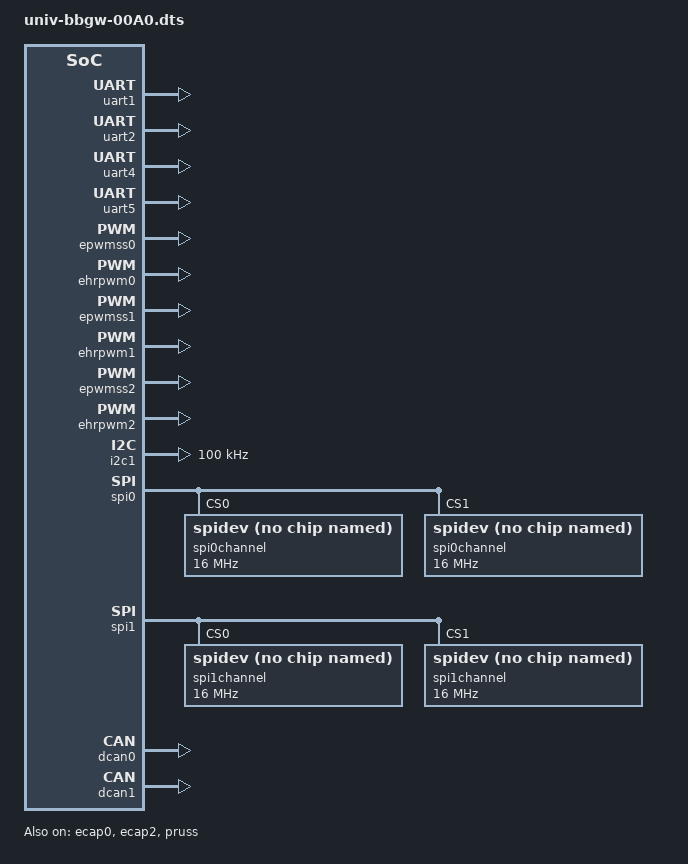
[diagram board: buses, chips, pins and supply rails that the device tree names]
/*
 * Copyright 2013
 * Charles Steinkuehler <charles@steinkuehler.net>
 * Robert Nelson <robertcnelson@gmail.com>
 * 
 * This program is free software; you can redistribute it and/or modify
 * it under the terms of the GNU General Public License as published by
 * the Free Software Foundation; either version 2 of the License, or
 * (at your option) any later version.
 * 
 * This program is distributed in the hope that it will be useful,
 * but WITHOUT ANY WARRANTY; without even the implied warranty of
 * MERCHANTABILITY or FITNESS FOR A PARTICULAR PURPOSE.  See the
 * GNU General Public License for more details.
 * 
 */

/dts-v1/;
/plugin/;

#include "bb-cape-universal.dtsi"

/ {
	compatible = "ti,beaglebone", "ti,beaglebone-black", "ti,beaglebone-green";

	/* identification */
	part-number = "univ-bbgw";
	version = "00A0";

	/* state the resources this cape uses */
	exclusive-use =

		/* "P8.1", GND */
		/* "P8.2", GND */
		/* "P8.3", emmc */
		/* "P8.4", emmc */
		/* "P8.5", emmc */
		/* "P8.6", emmc */
		"P8.7",
		"P8.8",
		"P8.9",
		"P8.10",
		/* "P8.11", */
		/* "P8.12", */
		"P8.13",
		/* "P8.14", */
		/* "P8.15", */
		/* "P8.16", */
		/* "P8.17", */
		/* "P8.18", */
		"P8.19",
		/* "P8.20", emmc */
		/* "P8.21", emmc */
		/* "P8.22", emmc */
		/* "P8.23", emmc */
		/* "P8.24", emmc */
		/* "P8.25", emmc */
		/* "P8.26", */
		"P8.27", /* hdmi */
		"P8.28", /* hdmi */
		"P8.29", /* hdmi */
		"P8.30", /* hdmi */
		"P8.31", /* hdmi */
		"P8.32", /* hdmi */
		"P8.33", /* hdmi */
		"P8.34", /* hdmi */
		"P8.35", /* hdmi */
		"P8.36", /* hdmi */
		"P8.37", /* hdmi */
		"P8.38", /* hdmi */
		"P8.39", /* hdmi */
		"P8.40", /* hdmi */
		"P8.41", /* hdmi */
		"P8.42", /* hdmi */
		"P8.43", /* hdmi */
		"P8.44", /* hdmi */
		"P8.45", /* hdmi */
		"P8.46", /* hdmi */

		/* "P9.1", GND */
		/* "P9.2", GND */
		/* "P9.3", 3.3V */
		/* "P9.4", 3.3V */
		/* "P9.5", VDD_5V */
		/* "P9.6", VDD_5V */
		/* "P9.7", SYS_5V */
		/* "P9.8", SYS_5V */
		/* "P9.9", PWR_BUT */
		/* "P9.10", RESETn */
		"P9.11",
		"P9.12",
		"P9.13",
		"P9.14",
		"P9.15",
		"P9.16",
		"P9.17",
		"P9.18",
		/* "P9.19", I2C */
		/* "P9.20", I2C */
		"P9.21",
		"P9.22",
		"P9.23",
		"P9.24",
		"P9.25", /* Audio */
		"P9.26",
		"P9.27",
		/* "P9.28", Audio */
		/* "P9.29", Audio */
		/* "P9.30", */
		/* "P9.31", Audio */
		/* "P9.32", VADC */
		/* "P9.33", AIN4 */
		/* "P9.34", AGND */
		/* "P9.35", AIN6 */
		/* "P9.36", AIN5 */
		/* "P9.37", AIN2 */
		/* "P9.38", AIN3 */
		/* "P9.39", AIN0 */
		/* "P9.40", AIN1 */
		"P9.41",
		"P9.41.1",
		"P9.42",
		"P9.42.1",
		/* "P9.43", GND */
		/* "P9.44", GND */
		/* "P9.45", GND */
		/* "P9.46", GND */

		"uart1",
		"uart2",
		"uart4",
		"uart5", /* Conflicts with HDMI */

		"ehrpwm0A",
		"ehrpwm0B",
		"ehrpwm1A",
		"ehrpwm1B",
		"ehrpwm2A",
		"ehrpwm2B",

		"epwmss0",
		"ehrpwm0",
		"ecap0",
		"epwmss1",
		"ehrpwm1",
		"epwmss2",
		"ehrpwm2",
		"ecap2",

		"i2c1",
		"spi1",
		"spi0",
		"dcan0",
		"dcan1",

		"pru0",
		"pru1",
		"pruss";

	/************************/
	/* Pin Multiplexing */
	/************************/

	fragment@1 {
		target = <&ocp>;
		__overlay__ {

			/************************/
			/* P8 Header			*/
			/************************/

			P8_07_pinmux {
				compatible = "bone-pinmux-helper";
				status = "okay";
				pinctrl-names = "default", "gpio", "gpio_pu", "gpio_pd", "timer";
				pinctrl-0 = <&P8_07_default_pin>;
				pinctrl-1 = <&P8_07_gpio_pin>;
				pinctrl-2 = <&P8_07_gpio_pu_pin>;
				pinctrl-3 = <&P8_07_gpio_pd_pin>;
				pinctrl-4 = <&P8_07_timer_pin>;
			};

			P8_08_pinmux {
				compatible = "bone-pinmux-helper";
				status = "okay";
				pinctrl-names = "default", "gpio", "gpio_pu", "gpio_pd", "timer";
				pinctrl-0 = <&P8_08_default_pin>;
				pinctrl-1 = <&P8_08_gpio_pin>;
				pinctrl-2 = <&P8_08_gpio_pu_pin>;
				pinctrl-3 = <&P8_08_gpio_pd_pin>;
				pinctrl-4 = <&P8_08_timer_pin>;
			};

			P8_09_pinmux {
				compatible = "bone-pinmux-helper";
				status = "okay";
				pinctrl-names = "default", "gpio", "gpio_pu", "gpio_pd", "timer";
				pinctrl-0 = <&P8_09_default_pin>;
				pinctrl-1 = <&P8_09_gpio_pin>;
				pinctrl-2 = <&P8_09_gpio_pu_pin>;
				pinctrl-3 = <&P8_09_gpio_pd_pin>;
				pinctrl-4 = <&P8_09_timer_pin>;
			};

			P8_10_pinmux {
				compatible = "bone-pinmux-helper";
				status = "okay";
				pinctrl-names = "default", "gpio", "gpio_pu", "gpio_pd", "timer";
				pinctrl-0 = <&P8_10_default_pin>;
				pinctrl-1 = <&P8_10_gpio_pin>;
				pinctrl-2 = <&P8_10_gpio_pu_pin>;
				pinctrl-3 = <&P8_10_gpio_pd_pin>;
				pinctrl-4 = <&P8_10_timer_pin>;
			};

			P8_13_pinmux {
				compatible = "bone-pinmux-helper";
				status = "okay";
				pinctrl-names = "default", "gpio", "gpio_pu", "gpio_pd", "pwm";
				pinctrl-0 = <&P8_13_default_pin>;
				pinctrl-1 = <&P8_13_gpio_pin>;
				pinctrl-2 = <&P8_13_gpio_pu_pin>;
				pinctrl-3 = <&P8_13_gpio_pd_pin>;
				pinctrl-4 = <&P8_13_pwm_pin>;
			};

			P8_19_pinmux {
				compatible = "bone-pinmux-helper";
				status = "okay";
				pinctrl-names = "default", "gpio", "gpio_pu", "gpio_pd", "pwm";
				pinctrl-0 = <&P8_19_default_pin>;
				pinctrl-1 = <&P8_19_gpio_pin>;
				pinctrl-2 = <&P8_19_gpio_pu_pin>;
				pinctrl-3 = <&P8_19_gpio_pd_pin>;
				pinctrl-4 = <&P8_19_pwm_pin>;
			};

			/* hdmi */
			P8_27_pinmux {
				compatible = "bone-pinmux-helper";
				status = "okay";
				pinctrl-names = "default", "gpio", "gpio_pu", "gpio_pd", "pruout", "pruin";
				pinctrl-0 = <&P8_27_default_pin>;
				pinctrl-1 = <&P8_27_gpio_pin>;
				pinctrl-2 = <&P8_27_gpio_pu_pin>;
				pinctrl-3 = <&P8_27_gpio_pd_pin>;
				pinctrl-4 = <&P8_27_pruout_pin>;
				pinctrl-5 = <&P8_27_pruin_pin>;
			};
			/* hdmi */
			P8_28_pinmux {
				compatible = "bone-pinmux-helper";
				status = "okay";
				pinctrl-names = "default", "gpio", "gpio_pu", "gpio_pd", "pruout", "pruin";
				pinctrl-0 = <&P8_28_default_pin>;
				pinctrl-1 = <&P8_28_gpio_pin>;
				pinctrl-2 = <&P8_28_gpio_pu_pin>;
				pinctrl-3 = <&P8_28_gpio_pd_pin>;
				pinctrl-4 = <&P8_28_pruout_pin>;
				pinctrl-5 = <&P8_28_pruin_pin>;
			};
			/* hdmi */
			P8_29_pinmux {
				compatible = "bone-pinmux-helper";
				status = "okay";
				pinctrl-names = "default", "gpio", "gpio_pu", "gpio_pd", "pruout", "pruin";
				pinctrl-0 = <&P8_29_default_pin>;
				pinctrl-1 = <&P8_29_gpio_pin>;
				pinctrl-2 = <&P8_29_gpio_pu_pin>;
				pinctrl-3 = <&P8_29_gpio_pd_pin>;
				pinctrl-4 = <&P8_29_pruout_pin>;
				pinctrl-5 = <&P8_29_pruin_pin>;
			};
			/* hdmi */
			P8_30_pinmux {
				compatible = "bone-pinmux-helper";
				status = "okay";
				pinctrl-names = "default", "gpio", "gpio_pu", "gpio_pd", "pruout", "pruin";
				pinctrl-0 = <&P8_30_default_pin>;
				pinctrl-1 = <&P8_30_gpio_pin>;
				pinctrl-2 = <&P8_30_gpio_pu_pin>;
				pinctrl-3 = <&P8_30_gpio_pd_pin>;
				pinctrl-4 = <&P8_30_pruout_pin>;
				pinctrl-5 = <&P8_30_pruin_pin>;
			};
			/* hdmi */
			P8_31_pinmux {
				compatible = "bone-pinmux-helper";
				status = "okay";
				pinctrl-names = "default", "gpio", "gpio_pu", "gpio_pd","uart";
				pinctrl-0 = <&P8_31_default_pin>;
				pinctrl-1 = <&P8_31_gpio_pin>;
				pinctrl-2 = <&P8_31_gpio_pu_pin>;
				pinctrl-3 = <&P8_31_gpio_pd_pin>;
				pinctrl-4 = <&P8_31_uart_pin>;
			};
			/* hdmi */
			P8_32_pinmux {
				compatible = "bone-pinmux-helper";
				status = "okay";
				pinctrl-names = "default", "gpio", "gpio_pu", "gpio_pd";
				pinctrl-0 = <&P8_32_default_pin>;
				pinctrl-1 = <&P8_32_gpio_pin>;
				pinctrl-2 = <&P8_32_gpio_pu_pin>;
				pinctrl-3 = <&P8_32_gpio_pd_pin>;
			};
			/* hdmi */
			P8_33_pinmux {
				compatible = "bone-pinmux-helper";
				status = "okay";
				pinctrl-names = "default", "gpio", "gpio_pu", "gpio_pd";
				pinctrl-0 = <&P8_33_default_pin>;
				pinctrl-1 = <&P8_33_gpio_pin>;
				pinctrl-2 = <&P8_33_gpio_pu_pin>;
				pinctrl-3 = <&P8_33_gpio_pd_pin>;
			};
			/* hdmi */
			P8_34_pinmux {
				compatible = "bone-pinmux-helper";
				status = "okay";
				pinctrl-names = "default", "gpio", "gpio_pu", "gpio_pd","pwm";
				pinctrl-0 = <&P8_34_default_pin>;
				pinctrl-1 = <&P8_34_gpio_pin>;
				pinctrl-2 = <&P8_34_gpio_pu_pin>;
				pinctrl-3 = <&P8_34_gpio_pd_pin>;
				pinctrl-4 = <&P8_34_pwm_pin>;
			};
			/* hdmi */
			P8_35_pinmux {
				compatible = "bone-pinmux-helper";
				status = "okay";
				pinctrl-names = "default", "gpio", "gpio_pu", "gpio_pd";
				pinctrl-0 = <&P8_35_default_pin>;
				pinctrl-1 = <&P8_35_gpio_pin>;
				pinctrl-2 = <&P8_35_gpio_pu_pin>;
				pinctrl-3 = <&P8_35_gpio_pd_pin>;
			};
			/* hdmi */
			P8_36_pinmux {
				compatible = "bone-pinmux-helper";
				status = "okay";
				pinctrl-names = "default", "gpio", "gpio_pu", "gpio_pd","pwm";
				pinctrl-0 = <&P8_36_default_pin>;
				pinctrl-1 = <&P8_36_gpio_pin>;
				pinctrl-2 = <&P8_36_gpio_pu_pin>;
				pinctrl-3 = <&P8_36_gpio_pd_pin>;
				pinctrl-4 = <&P8_36_pwm_pin>;
			};
			/* hdmi */
			P8_37_pinmux {
				compatible = "bone-pinmux-helper";
				status = "okay";
				pinctrl-names = "default", "gpio", "gpio_pu", "gpio_pd","uart","pwm";
				pinctrl-0 = <&P8_37_default_pin>;
				pinctrl-1 = <&P8_37_gpio_pin>;
				pinctrl-2 = <&P8_37_gpio_pu_pin>;
				pinctrl-3 = <&P8_37_gpio_pd_pin>;
				pinctrl-4 = <&P8_37_uart_pin>;
				pinctrl-5 = <&P8_37_pwm_pin>;
			};
			/* hdmi */
			P8_38_pinmux {
				compatible = "bone-pinmux-helper";
				status = "okay";
				pinctrl-names = "default", "gpio", "gpio_pu", "gpio_pd","uart","pwm";
				pinctrl-0 = <&P8_38_default_pin>;
				pinctrl-1 = <&P8_38_gpio_pin>;
				pinctrl-2 = <&P8_38_gpio_pu_pin>;
				pinctrl-3 = <&P8_38_gpio_pd_pin>;
				pinctrl-4 = <&P8_38_uart_pin>;
				pinctrl-5 = <&P8_38_pwm_pin>;
			};
			/* hdmi */
			P8_39_pinmux {
				compatible = "bone-pinmux-helper";
				status = "okay";
				pinctrl-names = "default", "gpio", "gpio_pu", "gpio_pd", "pruout", "pruin";
				pinctrl-0 = <&P8_39_default_pin>;
				pinctrl-1 = <&P8_39_gpio_pin>;
				pinctrl-2 = <&P8_39_gpio_pu_pin>;
				pinctrl-3 = <&P8_39_gpio_pd_pin>;
				pinctrl-4 = <&P8_39_pruout_pin>;
				pinctrl-5 = <&P8_39_pruin_pin>;
			};
			/* hdmi */
			P8_40_pinmux {
				compatible = "bone-pinmux-helper";
				status = "okay";
				pinctrl-names = "default", "gpio", "gpio_pu", "gpio_pd", "pruout", "pruin";
				pinctrl-0 = <&P8_40_default_pin>;
				pinctrl-1 = <&P8_40_gpio_pin>;
				pinctrl-2 = <&P8_40_gpio_pu_pin>;
				pinctrl-3 = <&P8_40_gpio_pd_pin>;
				pinctrl-4 = <&P8_40_pruout_pin>;
				pinctrl-5 = <&P8_40_pruin_pin>;
			};
			/* hdmi */
			P8_41_pinmux {
				compatible = "bone-pinmux-helper";
				status = "okay";
				pinctrl-names = "default", "gpio", "gpio_pu", "gpio_pd", "pruout", "pruin";
				pinctrl-0 = <&P8_41_default_pin>;
				pinctrl-1 = <&P8_41_gpio_pin>;
				pinctrl-2 = <&P8_41_gpio_pu_pin>;
				pinctrl-3 = <&P8_41_gpio_pd_pin>;
				pinctrl-4 = <&P8_41_pruout_pin>;
				pinctrl-5 = <&P8_41_pruin_pin>;
			};
			/* hdmi */
			P8_42_pinmux {
				compatible = "bone-pinmux-helper";
				status = "okay";
				pinctrl-names = "default", "gpio", "gpio_pu", "gpio_pd", "pruout", "pruin";
				pinctrl-0 = <&P8_42_default_pin>;
				pinctrl-1 = <&P8_42_gpio_pin>;
				pinctrl-2 = <&P8_42_gpio_pu_pin>;
				pinctrl-3 = <&P8_42_gpio_pd_pin>;
				pinctrl-4 = <&P8_42_pruout_pin>;
				pinctrl-5 = <&P8_42_pruin_pin>;
			};
			/* hdmi */
			P8_43_pinmux {
				compatible = "bone-pinmux-helper";
				status = "okay";
				pinctrl-names = "default", "gpio", "gpio_pu", "gpio_pd", "pruout", "pruin","pwm";
				pinctrl-0 = <&P8_43_default_pin>;
				pinctrl-1 = <&P8_43_gpio_pin>;
				pinctrl-2 = <&P8_43_gpio_pu_pin>;
				pinctrl-3 = <&P8_43_gpio_pd_pin>;
				pinctrl-4 = <&P8_43_pruout_pin>;
				pinctrl-5 = <&P8_43_pruin_pin>;
				pinctrl-6 = <&P8_43_pwm_pin>;
			};
			/* hdmi */
			P8_44_pinmux {
				compatible = "bone-pinmux-helper";
				status = "okay";
				pinctrl-names = "default", "gpio", "gpio_pu", "gpio_pd", "pruout", "pruin","pwm";
				pinctrl-0 = <&P8_44_default_pin>;
				pinctrl-1 = <&P8_44_gpio_pin>;
				pinctrl-2 = <&P8_44_gpio_pu_pin>;
				pinctrl-3 = <&P8_44_gpio_pd_pin>;
				pinctrl-4 = <&P8_44_pruout_pin>;
				pinctrl-5 = <&P8_44_pruin_pin>;
				pinctrl-6 = <&P8_44_pwm_pin>;
			};
			/* hdmi */
			P8_45_pinmux {
				compatible = "bone-pinmux-helper";
				status = "okay";
				pinctrl-names = "default", "gpio", "gpio_pu", "gpio_pd", "pruout", "pruin","pwm";
				pinctrl-0 = <&P8_45_default_pin>;
				pinctrl-1 = <&P8_45_gpio_pin>;
				pinctrl-2 = <&P8_45_gpio_pu_pin>;
				pinctrl-3 = <&P8_45_gpio_pd_pin>;
				pinctrl-4 = <&P8_45_pruout_pin>;
				pinctrl-5 = <&P8_45_pruin_pin>;
				pinctrl-6 = <&P8_45_pwm_pin>;
			};
			/* hdmi */
			P8_46_pinmux {
				compatible = "bone-pinmux-helper";
				status = "okay";
				pinctrl-names = "default", "gpio", "gpio_pu", "gpio_pd", "pruout", "pruin","pwm";
				pinctrl-0 = <&P8_46_default_pin>;
				pinctrl-1 = <&P8_46_gpio_pin>;
				pinctrl-2 = <&P8_46_gpio_pu_pin>;
				pinctrl-3 = <&P8_46_gpio_pd_pin>;
				pinctrl-4 = <&P8_46_pruout_pin>;
				pinctrl-5 = <&P8_46_pruin_pin>;
				pinctrl-6 = <&P8_46_pwm_pin>;
			};


			/************************/
			/* P9 Header			*/
			/************************/

			P9_11_pinmux {
				compatible = "bone-pinmux-helper";
				status = "okay";
				pinctrl-names = "default", "gpio", "gpio_pu", "gpio_pd", "uart";
				pinctrl-0 = <&P9_11_default_pin>;
				pinctrl-1 = <&P9_11_gpio_pin>;
				pinctrl-2 = <&P9_11_gpio_pu_pin>;
				pinctrl-3 = <&P9_11_gpio_pd_pin>;
				pinctrl-4 = <&P9_11_uart_pin>;
			};

			P9_13_pinmux {
				compatible = "bone-pinmux-helper";
				status = "okay";
				pinctrl-names = "default", "gpio", "gpio_pu", "gpio_pd", "uart";
				pinctrl-0 = <&P9_13_default_pin>;
				pinctrl-1 = <&P9_13_gpio_pin>;
				pinctrl-2 = <&P9_13_gpio_pu_pin>;
				pinctrl-3 = <&P9_13_gpio_pd_pin>;
				pinctrl-4 = <&P9_13_uart_pin>;
			};

			P9_14_pinmux {
				compatible = "bone-pinmux-helper";
				status = "okay";
				pinctrl-names = "default", "gpio", "gpio_pu", "gpio_pd", "pwm";
				pinctrl-0 = <&P9_14_default_pin>;
				pinctrl-1 = <&P9_14_gpio_pin>;
				pinctrl-2 = <&P9_14_gpio_pu_pin>;
				pinctrl-3 = <&P9_14_gpio_pd_pin>;
				pinctrl-4 = <&P9_14_pwm_pin>;
			};

			P9_15_pinmux {
				compatible = "bone-pinmux-helper";
				status = "okay";
				pinctrl-names = "default", "gpio", "gpio_pu", "gpio_pd", "pwm";
				pinctrl-0 = <&P9_15_default_pin>;
				pinctrl-1 = <&P9_15_gpio_pin>;
				pinctrl-2 = <&P9_15_gpio_pu_pin>;
				pinctrl-3 = <&P9_15_gpio_pd_pin>;
				pinctrl-4 = <&P9_15_pwm_pin>;
			};

			P9_16_pinmux {
				compatible = "bone-pinmux-helper";
				status = "okay";
				pinctrl-names = "default", "gpio", "gpio_pu", "gpio_pd", "pwm";
				pinctrl-0 = <&P9_16_default_pin>;
				pinctrl-1 = <&P9_16_gpio_pin>;
				pinctrl-2 = <&P9_16_gpio_pu_pin>;
				pinctrl-3 = <&P9_16_gpio_pd_pin>;
				pinctrl-4 = <&P9_16_pwm_pin>;
			};

			P9_17_pinmux {
				compatible = "bone-pinmux-helper";
				status = "okay";
				pinctrl-names = "default", "gpio", "gpio_pu", "gpio_pd", "spi", "i2c", "pwm";
				pinctrl-0 = <&P9_17_default_pin>;
				pinctrl-1 = <&P9_17_gpio_pin>;
				pinctrl-2 = <&P9_17_gpio_pu_pin>;
				pinctrl-3 = <&P9_17_gpio_pd_pin>;
				pinctrl-4 = <&P9_17_spi_pin>;
				pinctrl-5 = <&P9_17_i2c_pin>;
				pinctrl-6 = <&P9_17_pwm_pin>;
			};

			P9_18_pinmux {
				compatible = "bone-pinmux-helper";
				status = "okay";
				pinctrl-names = "default", "gpio", "gpio_pu", "gpio_pd", "spi", "i2c", "pwm";
				pinctrl-0 = <&P9_18_default_pin>;
				pinctrl-1 = <&P9_18_gpio_pin>;
				pinctrl-2 = <&P9_18_gpio_pu_pin>;
				pinctrl-3 = <&P9_18_gpio_pd_pin>;
				pinctrl-4 = <&P9_18_spi_pin>;
				pinctrl-5 = <&P9_18_i2c_pin>;
				pinctrl-6 = <&P9_18_pwm_pin>;
			};

			// I2C Pins
			// P9_19_pinmux
			// P9_20_pinmux

			P9_21_pinmux {
				compatible = "bone-pinmux-helper";
				status = "okay";
				pinctrl-names = "default", "gpio", "gpio_pu", "gpio_pd", "spi", "uart", "i2c", "pwm";
				pinctrl-0 = <&P9_21_default_pin>;
				pinctrl-1 = <&P9_21_gpio_pin>;
				pinctrl-2 = <&P9_21_gpio_pu_pin>;
				pinctrl-3 = <&P9_21_gpio_pd_pin>;
				pinctrl-4 = <&P9_21_spi_pin>;
				pinctrl-5 = <&P9_21_uart_pin>;
				pinctrl-6 = <&P9_21_i2c_pin>;
				pinctrl-7 = <&P9_21_pwm_pin>;
			};

			P9_22_pinmux {
				compatible = "bone-pinmux-helper";
				status = "okay";
				pinctrl-names = "default", "gpio", "gpio_pu", "gpio_pd", "spi", "uart", "i2c", "pwm";
				pinctrl-0 = <&P9_22_default_pin>;
				pinctrl-1 = <&P9_22_gpio_pin>;
				pinctrl-2 = <&P9_22_gpio_pu_pin>;
				pinctrl-3 = <&P9_22_gpio_pd_pin>;
				pinctrl-4 = <&P9_22_spi_pin>;
				pinctrl-5 = <&P9_22_uart_pin>;
				pinctrl-6 = <&P9_22_i2c_pin>;
				pinctrl-7 = <&P9_22_pwm_pin>;
			};

			P9_23_pinmux {
				compatible = "bone-pinmux-helper";
				status = "okay";
				pinctrl-names = "default", "gpio", "gpio_pu", "gpio_pd", "pwm";
				pinctrl-0 = <&P9_23_default_pin>;
				pinctrl-1 = <&P9_23_gpio_pin>;
				pinctrl-2 = <&P9_23_gpio_pu_pin>;
				pinctrl-3 = <&P9_23_gpio_pd_pin>;
				pinctrl-4 = <&P9_23_pwm_pin>;
			};

			P9_24_pinmux {
				compatible = "bone-pinmux-helper";
				status = "okay";
				pinctrl-names = "default", "gpio", "gpio_pu", "gpio_pd", "uart", "can", "i2c", "pruin";
				pinctrl-0 = <&P9_24_default_pin>;
				pinctrl-1 = <&P9_24_gpio_pin>;
				pinctrl-2 = <&P9_24_gpio_pu_pin>;
				pinctrl-3 = <&P9_24_gpio_pd_pin>;
				pinctrl-4 = <&P9_24_uart_pin>;
				pinctrl-5 = <&P9_24_can_pin>;
				pinctrl-6 = <&P9_24_i2c_pin>;
				pinctrl-7 = <&P9_24_pruin_pin>;
			};
			/* audio */
			P9_25_pinmux {
				compatible = "bone-pinmux-helper";
				status = "okay";
				pinctrl-names = "default", "gpio", "gpio_pu", "gpio_pd", "qep", "pruout", "pruin";
				pinctrl-0 = <&P9_25_default_pin>;
				pinctrl-1 = <&P9_25_gpio_pin>;
				pinctrl-2 = <&P9_25_gpio_pu_pin>;
				pinctrl-3 = <&P9_25_gpio_pd_pin>;
				pinctrl-4 = <&P9_25_qep_pin>;
				pinctrl-5 = <&P9_25_pruout_pin>;
				pinctrl-6 = <&P9_25_pruin_pin>;
			};

			P9_26_pinmux {
				compatible = "bone-pinmux-helper";
				status = "okay";
				pinctrl-names = "default", "gpio", "gpio_pu", "gpio_pd", "uart", "can", "i2c", "pruin";
				pinctrl-0 = <&P9_26_default_pin>;
				pinctrl-1 = <&P9_26_gpio_pin>;
				pinctrl-2 = <&P9_26_gpio_pu_pin>;
				pinctrl-3 = <&P9_26_gpio_pd_pin>;
				pinctrl-4 = <&P9_26_uart_pin>;
				pinctrl-5 = <&P9_26_can_pin>;
				pinctrl-6 = <&P9_26_i2c_pin>;
				pinctrl-7 = <&P9_26_pruin_pin>;
			};

			P9_27_pinmux {
				compatible = "bone-pinmux-helper";
				status = "okay";
				pinctrl-names = "default", "gpio", "gpio_pu", "gpio_pd", "qep", "pruout", "pruin";
				pinctrl-0 = <&P9_27_default_pin>;
				pinctrl-1 = <&P9_27_gpio_pin>;
				pinctrl-2 = <&P9_27_gpio_pu_pin>;
				pinctrl-3 = <&P9_27_gpio_pd_pin>;
				pinctrl-4 = <&P9_27_qep_pin>;
				pinctrl-5 = <&P9_27_pruout_pin>;
				pinctrl-6 = <&P9_27_pruin_pin>;
			};

			P9_41_pinmux {
				compatible = "bone-pinmux-helper";
				status = "okay";
				pinctrl-names = "default", "gpio", "gpio_pu", "gpio_pd", "timer", "pruin";
				pinctrl-0 = <&P9_41_default_pin>;
				pinctrl-1 = <&P9_41_gpio_pin>;
				pinctrl-2 = <&P9_41_gpio_pu_pin>;
				pinctrl-3 = <&P9_41_gpio_pd_pin>;
				pinctrl-4 = <&P9_41_timer_pin>;
				pinctrl-5 = <&P9_41_pruin_pin>;
			};

			P9_91_pinmux {
				compatible = "bone-pinmux-helper";
				status = "okay";
				pinctrl-names = "default", "gpio", "gpio_pu", "gpio_pd", "qep", "pruout", "pruin";
				pinctrl-0 = <&P9_91_default_pin>;
				pinctrl-1 = <&P9_91_gpio_pin>;
				pinctrl-2 = <&P9_91_gpio_pu_pin>;
				pinctrl-3 = <&P9_91_gpio_pd_pin>;
				pinctrl-4 = <&P9_91_qep_pin>;
				pinctrl-5 = <&P9_91_pruout_pin>;
				pinctrl-6 = <&P9_91_pruin_pin>;
			};

			P9_42_pinmux {
				compatible = "bone-pinmux-helper";
				status = "okay";
				pinctrl-names = "default", "gpio", "gpio_pu", "gpio_pd", "pwm", "uart", "spics", "spiclk";
				pinctrl-0 = <&P9_42_default_pin>;
				pinctrl-1 = <&P9_42_gpio_pin>;
				pinctrl-2 = <&P9_42_gpio_pu_pin>;
				pinctrl-3 = <&P9_42_gpio_pd_pin>;
				pinctrl-4 = <&P9_42_pwm_pin>;
				pinctrl-5 = <&P9_42_uart_pin>;
				pinctrl-6 = <&P9_42_spics_pin>;
				pinctrl-7 = <&P9_42_spiclk_pin>;
			};

			P9_92_pinmux {
				compatible = "bone-pinmux-helper";
				status = "okay";
				pinctrl-names = "default", "gpio", "gpio_pu", "gpio_pd", "qep", "pruout", "pruin";
				pinctrl-0 = <&P9_92_default_pin>;
				pinctrl-1 = <&P9_92_gpio_pin>;
				pinctrl-2 = <&P9_92_gpio_pu_pin>;
				pinctrl-3 = <&P9_92_gpio_pd_pin>;
				pinctrl-4 = <&P9_92_qep_pin>;
				pinctrl-5 = <&P9_92_pruout_pin>;
				pinctrl-6 = <&P9_92_pruin_pin>;
			};
		};
	};

	fragment@2 {
		target = <&ocp>;
		__overlay__ {
			cape-universal {
				compatible = "gpio-of-helper";
				status = "okay";
				pinctrl-names = "default";
				pinctrl-0 = <>;

				P8_07 {
					gpio-name = "P8_07";
					gpio = <&gpio2 2 0>;
					input;
					dir-changeable;
				};

				P8_08 {
					gpio-name = "P8_08";
					gpio = <&gpio2 3 0>;
					input;
					dir-changeable;
				};

				P8_09 {
					gpio-name = "P8_09";
					gpio = <&gpio2 5 0>;
					input;
					dir-changeable;
				};

				P8_10 {
					gpio-name = "P8_10";
					gpio = <&gpio2 4 0>;
					input;
					dir-changeable;
				};

				P8_13 {
					gpio-name = "P8_13";
					gpio = <&gpio0 23 0>;
					input;
					dir-changeable;
				};

				P8_19 {
					gpio-name = "P8_19";
					gpio = <&gpio0 22 0>;
					input;
					dir-changeable;
				};

				/* hdmi */
				P8_27 {
					gpio-name = "P8_27";
					gpio = <&gpio2 22 0>;
					input;
					dir-changeable;
				};
				/* hdmi */
				P8_28 {
					gpio-name = "P8_28";
					gpio = <&gpio2 24 0>;
					input;
					dir-changeable;
				};
				/* hdmi */
				P8_29 {
					gpio-name = "P8_29";
					gpio = <&gpio2 23 0>;
					input;
					dir-changeable;
				};
				/* hdmi */
				P8_30 {
					gpio-name = "P8_30";
					gpio = <&gpio2 25 0>;
					input;
					dir-changeable;
				};
				/* hdmi */
				P8_31 {
					gpio-name = "P8_31";
					gpio = <&gpio0 10 0>;
					input;
					dir-changeable;
				};
				/* hdmi */
				P8_32 {
					gpio-name = "P8_32";
					gpio = <&gpio0 11 0>;
					input;
					dir-changeable;
				};
				/* hdmi */
				P8_33 {
					gpio-name = "P8_33";
					gpio = <&gpio0 9 0>;
					input;
					dir-changeable;
				};
				/* hdmi */
				P8_34 {
					gpio-name = "P8_34";
					gpio = <&gpio2 17 0>;
					input;
					dir-changeable;
				};
				/* hdmi */
				P8_35 {
					gpio-name = "P8_35";
					gpio = <&gpio0 8 0>;
					input;
					dir-changeable;
				};
				/* hdmi */
				P8_36 {
					gpio-name = "P8_36";
					gpio = <&gpio2 16 0>;
					input;
					dir-changeable;
				};
				/* hdmi */
				P8_37 {
					gpio-name = "P8_37";
					gpio = <&gpio2 14 0>;
					input;
					dir-changeable;
				};
				/* hdmi */
				P8_38 {
					gpio-name = "P8_38";
					gpio = <&gpio2 15 0>;
					input;
					dir-changeable;
				};
				/* hdmi */
				P8_39 {
					gpio-name = "P8_39";
					gpio = <&gpio2 12 0>;
					input;
					dir-changeable;
				};
				/* hdmi */
				P8_40 {
					gpio-name = "P8_40";
					gpio = <&gpio2 13 0>;
					input;
					dir-changeable;
				};
				/* hdmi */
				P8_41 {
					gpio-name = "P8_41";
					gpio = <&gpio2 10 0>;
					input;
					dir-changeable;
				};
				/* hdmi */
				P8_42 {
					gpio-name = "P8_42";
					gpio = <&gpio2 11 0>;
					input;
					dir-changeable;
				};
				/* hdmi */
				P8_43 {
					gpio-name = "P8_43";
					gpio = <&gpio2 8 0>;
					input;
					dir-changeable;
				};
				/* hdmi */
				P8_44 {
					gpio-name = "P8_44";
					gpio = <&gpio2 9 0>;
					input;
					dir-changeable;
				};
				/* hdmi */
				P8_45 {
					gpio-name = "P8_45";
					gpio = <&gpio2 6 0>;
					input;
					dir-changeable;
				};
				/* hdmi */
				P8_46 {
					gpio-name = "P8_46";
					gpio = <&gpio2 7 0>;
					input;
					dir-changeable;
				};

				P9_11 {
					gpio-name = "P9_11";
					gpio = <&gpio0 30 0>;
					input;
					dir-changeable;
				};

				P9_12 {
					gpio-name = "P9_12";
					gpio = <&gpio1 28 0>;
					input;
					dir-changeable;
				};

				P9_13 {
					gpio-name = "P9_13";
					gpio = <&gpio0 31 0>;
					input;
					dir-changeable;
				};

				P9_14 {
					gpio-name = "P9_14";
					gpio = <&gpio1 18 0>;
					input;
					dir-changeable;
				};

				P9_15 {
					gpio-name = "P9_15";
					gpio = <&gpio1 16 0>;
					input;
					dir-changeable;
				};

				P9_16 {
					gpio-name = "P9_16";
					gpio = <&gpio1 19 0>;
					input;
					dir-changeable;
				};

				P9_17 {
					gpio-name = "P9_17";
					gpio = <&gpio0 5 0>;
					input;
					dir-changeable;
				};

				P9_18 {
					gpio-name = "P9_18";
					gpio = <&gpio0 4 0>;
					input;
					dir-changeable;
				};

				// I2C pins
				// P9_19
				// P9_20

				P9_21 {
					gpio-name = "P9_21";
					gpio = <&gpio0 3 0>;
					input;
					dir-changeable;
				};

				P9_22 {
					gpio-name = "P9_22";
					gpio = <&gpio0 2 0>;
					input;
					dir-changeable;
				};

				P9_23 {
					gpio-name = "P9_23";
					gpio = <&gpio1 17 0>;
					input;
					dir-changeable;
				};

				P9_24 {
					gpio-name = "P9_24";
					gpio = <&gpio0 15 0>;
					input;
					dir-changeable;
				};
				/* audio */
				P9_25 {
					gpio-name = "P9_25";
					gpio = <&gpio3 21 0>;
					input;
					dir-changeable;
				};

				P9_26 {
					gpio-name = "P9_26";
					gpio = <&gpio0 14 0>;
					input;
					dir-changeable;
				};

				P9_27 {
					gpio-name = "P9_27";
					gpio = <&gpio3 19 0>;
					input;
					dir-changeable;
				};

				P9_41 {
					gpio-name = "P9_41";
					gpio = <&gpio0 20 0>;
					input;
					dir-changeable;
				};

				P9_91 {
					gpio-name = "P9_91";
					gpio = <&gpio3 20 0>;
					input;
					dir-changeable;
				};

				P9_42 {
					gpio-name = "P9_42";
					gpio = <&gpio0 7 0>;
					input;
					dir-changeable;
				};

				P9_92 {
					gpio-name = "P9_92";
					gpio = <&gpio3 18 0>;
					input;
					dir-changeable;
				};
			};
		};
	};


	/************************/
	/* UARTs */
	/************************/

	fragment@10 {
		target = <&uart1>;
		__overlay__ {
			status = "okay";
			pinctrl-names = "default";
			pinctrl-0 = <>;
		};
	};

	fragment@11 {
		target = <&uart2>;
		__overlay__ {
			status = "okay";
			pinctrl-names = "default";
			pinctrl-0 = <>;
		};
	};

	fragment@12 {
		target = <&uart4>;
		__overlay__ {
			status = "okay";
			pinctrl-names = "default";
			pinctrl-0 = <>;
		};
	};

	/* UART 5 only available on LCD/HDMI pins */
	fragment@13 {
		target = <&uart5>;
		__overlay__ {
			status = "okay";
			pinctrl-names = "default";
			pinctrl-0 = <>;
		};
	};

	/************************/
	/* Timers / PWM */
	/************************/

	fragment@20 {
		target = <&epwmss0>;
		__overlay__ {
			status = "okay";
		};
	};

	fragment@21 {
		target = <&ehrpwm0>;
		__overlay__ {
			status = "okay";
			pinctrl-names = "default";
			pinctrl-0 = <>;
		};
 };

 fragment@22 {
		target = <&ecap0>;
		__overlay__ {
			status = "okay";
			pinctrl-names = "default";
			pinctrl-0 = <>;
		};
	};

	fragment@23 {
		target = <&epwmss1>;
		__overlay__ {
			status = "okay";
		};
	};

	fragment@24 {
		target = <&ehrpwm1>;
		__overlay__ {
			status = "okay";
			pinctrl-names = "default";
			pinctrl-0 = <>;
		};
	};

	fragment@25 {
		target = <&epwmss2>;
		__overlay__ {
			status = "okay";
		};
	};

	fragment@26 {
		target = <&ehrpwm2>;
		__overlay__ {
			status = "okay";
			pinctrl-names = "default";
			pinctrl-0 = <>;
		};
	};

	fragment@27 {
		target = <&ecap2>;
		__overlay__ {
			status = "okay";
			pinctrl-names = "default";
			pinctrl-0 = <>;
		};
	};

	/************************/
	/* I2C / SPI */
	/************************/

	fragment@30 {
		target = <&i2c1>; /* i2c1 is numbered correctly */
		__overlay__ {
			status = "okay";
			pinctrl-names = "default";
			pinctrl-0 = <>; 

			/* this is the configuration part */
			clock-frequency = <100000>;

			#address-cells = <1>;
			#size-cells = <0>;

			/* add any i2c devices on the bus here */

			// commented out example of a touchscreen (taken from BB-BONE-LCD7-01-00A4) */
			// maxtouch@4a {
			// compatible = "mXT224";
			// reg = <0x4a>;
			// interrupt-parent = <&gpio3>;
			// interrupts = <19 0x0>;
			// atmel,irq-gpio = <&gpio3 19 0>;
			// };
		};
	};

	fragment@31 {
		target = <&spi0>;
		__overlay__ {
			#address-cells = <1>;
			#size-cells = <0>;

			status = "okay";
			pinctrl-names = "default";
			pinctrl-0 = <>; 

			spi0channel@0 {
				#address-cells = <1>;
				#size-cells = <0>;

				compatible = "spidev";

				reg = <0>;
				spi-max-frequency = <16000000>;
				spi-cpha;
			};


			spi0channel@1 {
				#address-cells = <1>;
				#size-cells = <0>;

				compatible = "spidev";

				reg = <1>;
				spi-max-frequency = <16000000>;
			};
		};
	};

	fragment@32 {
		target = <&spi1>;
		__overlay__ {
			status = "okay";
			pinctrl-names = "default";
			pinctrl-0 = <>; 

			#address-cells = <1>;
			#size-cells = <0>;

			spi1channel@0 {
				#address-cells = <1>;
				#size-cells = <0>;

				compatible = "spidev";

				reg = <0>;
				spi-max-frequency = <16000000>;
				spi-cpha;
			};

			spi1channel@1 {
				#address-cells = <1>;
				#size-cells = <0>;

				compatible = "spidev";

				reg = <1>;
				spi-max-frequency = <16000000>;
			};
		};
	};

	fragment@33 {
		target = <&dcan0>;
		__overlay__ {
			status = "okay";
			pinctrl-names = "default";
			pinctrl-0 = <>;
		};
	};

	fragment@34 {
		target = <&dcan1>;
		__overlay__ {
			status = "okay";
			pinctrl-names = "default";
			pinctrl-0 = <>;
		};
	};

	/************************/
	/* PRUSS */
	/************************/

	fragment@40 {
		target = <&pruss>;
		__overlay__ {
			status = "okay";
		};
	};
};
